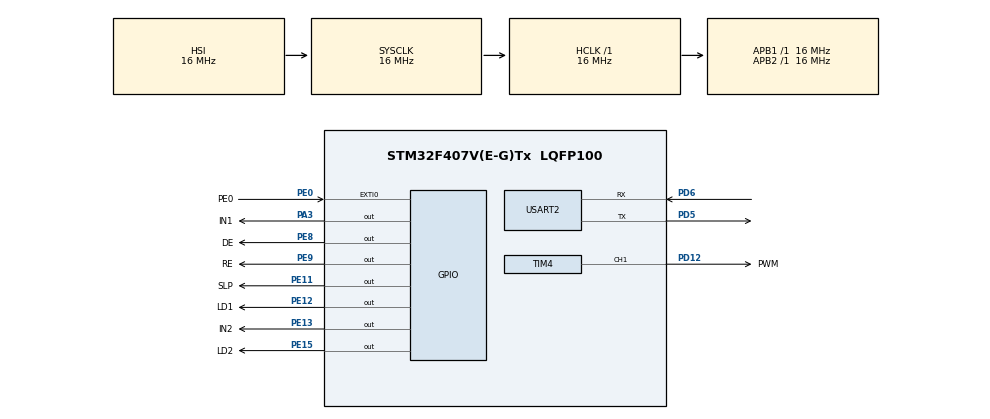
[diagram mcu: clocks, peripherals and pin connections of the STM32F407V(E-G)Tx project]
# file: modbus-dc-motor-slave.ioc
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Mcu.Family=STM32F4
Mcu.Name=STM32F407V(E-G)Tx
Mcu.Package=LQFP100
NVIC.EXTI0_IRQn=true\:4\:0\:true\:false\:true\:true
NVIC.PriorityGroup=NVIC_PRIORITYGROUP_4
NVIC.TIM3_IRQn=true\:2\:0\:true\:false\:true\:true
NVIC.USART2_IRQn=true\:1\:0\:true\:false\:true\:true
PA13.Mode=Serial_Wire
PA13.Signal=SYS_JTMS-SWDIO
PA14.Mode=Serial_Wire
PA14.Signal=SYS_JTCK-SWCLK
PA3.GPIO_Label=IN1
PA3.Signal=GPIO_Output
PC14-OSC32_IN.Mode=LSE-External-Oscillator
PC14-OSC32_IN.Signal=RCC_OSC32_IN
PC15-OSC32_OUT.Mode=LSE-External-Oscillator
PC15-OSC32_OUT.Signal=RCC_OSC32_OUT
PD12.GPIO_Label=PWM
PD12.Signal=S_TIM4_CH1
PD5.Mode=Asynchronous
PD5.Signal=USART2_TX
PD6.Mode=Asynchronous
PD6.Signal=USART2_RX
PD8.Signal=USART3_TX
PD9.Signal=USART3_RX
PE0.GPIO_Label=PE0
PE0.GPIO_PuPd=GPIO_PULLUP
PE0.Signal=GPXTI0
PE11.GPIO_Label=SLP
PE11.PinState=GPIO_PIN_SET
PE11.Signal=GPIO_Output
PE12.GPIO_Label=LD1
PE12.GPIO_PuPd=GPIO_PULLDOWN
PE12.Signal=GPIO_Output
PE13.GPIO_Label=IN2
PE13.Signal=GPIO_Output
PE15.GPIO_Label=LD2
PE15.GPIO_PuPd=GPIO_PULLUP
PE15.Signal=GPIO_Output
PE8.GPIO_Label=DE
PE8.PinState=GPIO_PIN_SET
PE8.Signal=GPIO_Output
PE9.GPIO_Label=RE
PE9.Signal=GPIO_Output
PH0-OSC_IN.Mode=HSE-External-Oscillator
PH0-OSC_IN.Signal=RCC_OSC_IN
PH1-OSC_OUT.Mode=HSE-External-Oscillator
PH1-OSC_OUT.Signal=RCC_OSC_OUT
ProjectManager.HeapSize=0x200
ProjectManager.StackSize=0x400
ProjectManager.TargetToolchain=SW4STM32
RCC.AHBFreq_Value=16000000
RCC.APB1Freq_Value=16000000
RCC.APB1TimFreq_Value=16000000
RCC.APB2Freq_Value=16000000
RCC.APB2TimFreq_Value=16000000
RCC.CortexFreq_Value=16000000
RCC.HCLKFreq_Value=16000000
RCC.HSE_VALUE=25000000
RCC.HSI_VALUE=16000000
RCC.SYSCLKFreq_VALUE=16000000
RCC.VCOOutputFreq_Value=192000000
SH.S_TIM4_CH1.0=TIM4_CH1,PWM Generation1 CH1
TIM3.Period=1000
TIM3.Prescaler=(16000000 / 1000000)-1
TIM4.Channel-PWM\ Generation1\ CH1=TIM_CHANNEL_1
TIM4.Period=200
TIM4.Prescaler=7
USART2.VirtualMode=VM_ASYNC
VP_TIM3_VS_ClockSourceINT.Mode=Internal
VP_TIM4_VS_ClockSourceINT.Mode=Internal
board=custom

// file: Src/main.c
/**
  ******************************************************************************
  * @file           : main.c
  * @brief          : Main program body
  ******************************************************************************
  ** This notice applies to any and all portions of this file
  * that are not between comment pairs USER CODE BEGIN and
  * USER CODE END. Other portions of this file, whether
  * inserted by the user or by software development tools
  * are owned by their respective copyright owners.
  *
  * COPYRIGHT(c) 2019 STMicroelectronics
  *
  * Redistribution and use in source and binary forms, with or without modification,
  * are permitted provided that the following conditions are met:
  *   1. Redistributions of source code must retain the above copyright notice,
  *      this list of conditions and the following disclaimer.
  *   2. Redistributions in binary form must reproduce the above copyright notice,
  *      this list of conditions and the following disclaimer in the documentation
  *      and/or other materials provided with the distribution.
  *   3. Neither the name of STMicroelectronics nor the names of its contributors
  *      may be used to endorse or promote products derived from this software
  *      without specific prior written permission.
  *
  * THIS SOFTWARE IS PROVIDED BY THE COPYRIGHT HOLDERS AND CONTRIBUTORS "AS IS"
  * AND ANY EXPRESS OR IMPLIED WARRANTIES, INCLUDING, BUT NOT LIMITED TO, THE
  * IMPLIED WARRANTIES OF MERCHANTABILITY AND FITNESS FOR A PARTICULAR PURPOSE ARE
  * DISCLAIMED. IN NO EVENT SHALL THE COPYRIGHT HOLDER OR CONTRIBUTORS BE LIABLE
  * FOR ANY DIRECT, INDIRECT, INCIDENTAL, SPECIAL, EXEMPLARY, OR CONSEQUENTIAL
  * DAMAGES (INCLUDING, BUT NOT LIMITED TO, PROCUREMENT OF SUBSTITUTE GOODS OR
  * SERVICES; LOSS OF USE, DATA, OR PROFITS; OR BUSINESS INTERRUPTION) HOWEVER
  * CAUSED AND ON ANY THEORY OF LIABILITY, WHETHER IN CONTRACT, STRICT LIABILITY,
  * OR TORT (INCLUDING NEGLIGENCE OR OTHERWISE) ARISING IN ANY WAY OUT OF THE USE
  * OF THIS SOFTWARE, EVEN IF ADVISED OF THE POSSIBILITY OF SUCH DAMAGE.
  *
  ******************************************************************************
  */
#include "main.h"
#include "stm32f4xx_hal.h"

TIM_HandleTypeDef htim3;
TIM_HandleTypeDef htim4;

UART_HandleTypeDef huart2;

/* USER CODE BEGIN PV */
/* Private variables ---------------------------------------------------------*/
#define SLAVE_ADDRESS 1

static uint16_t motor_speed_current = 0;
static bool motor_direction_current = true;
static bool	motor_stop_start_current = false;
static bool motor_short_brake_current = false;
static bool motor_stand_by_current = false;
/* USER CODE END PV */

void SystemClock_Config(void);
static void MX_GPIO_Init(void);
static void MX_TIM3_Init(void);
static void MX_USART2_UART_Init(void);
static void MX_TIM4_Init(void);

void HAL_TIM_MspPostInit(TIM_HandleTypeDef *htim);

/* USER CODE BEGIN PFP */
/* Private function prototypes -----------------------------------------------*/
static void motor_control_init(void);
static void motor_process(void);

/* USER CODE END PFP */

/* USER CODE BEGIN 0 */
void HAL_TIM_PeriodElapsedCallback(TIM_HandleTypeDef *htim)
{
	if(htim->Instance==TIM3)
	{
	  modbus_dependencies_timer_callback();
	}
}
/* USER CODE END 0 */

int main(void)
{

  /* MCU Configuration----------------------------------------------------------*/

  /* Reset of all peripherals, Initializes the Flash interface and the Systick. */
  HAL_Init();

  /* Configure the system clock */
  SystemClock_Config();

  /* Initialize all configured peripherals */
  MX_GPIO_Init();
  MX_TIM3_Init();
  MX_USART2_UART_Init();
  MX_TIM4_Init();
  /* USER CODE BEGIN 2 */

  //init all HW interfaces
  rs485_interface_init();

  //Init Modbus, set slave address
  modbus_init(SLAVE_ADDRESS);

  //Init your own registers
  modbus_register_mapping_init();

  modbus_variable_set_value(&modbus_variables_map.speed[0], motor_speed_current);
  modbus_variable_set_value(&modbus_variables_map.direction, motor_direction_current);
  modbus_variable_set_value(&modbus_variables_map.stop_start, motor_stop_start_current);
  modbus_variable_set_value(&modbus_variables_map.short_brake, motor_short_brake_current);
  modbus_variable_set_value(&modbus_variables_map.stand_by, motor_stand_by_current);

  dc_motor3_init();
  motor_control_init();

  /* USER CODE END 2 */

  /* Infinite loop */
  /* USER CODE BEGIN WHILE */
  while (1)
  {
	  modbus_process();

	  motor_process();
  /* USER CODE END WHILE */

  }

}

void SystemClock_Config(void)
{

  RCC_OscInitTypeDef RCC_OscInitStruct;
  RCC_ClkInitTypeDef RCC_ClkInitStruct;

    /**Configure the main internal regulator output voltage
    */
  __HAL_RCC_PWR_CLK_ENABLE();

  __HAL_PWR_VOLTAGESCALING_CONFIG(PWR_REGULATOR_VOLTAGE_SCALE1);

    /**Initializes the CPU, AHB and APB busses clocks
    */
  RCC_OscInitStruct.OscillatorType = RCC_OSCILLATORTYPE_HSI;
  RCC_OscInitStruct.HSIState = RCC_HSI_ON;
  RCC_OscInitStruct.HSICalibrationValue = 16;
  RCC_OscInitStruct.PLL.PLLState = RCC_PLL_NONE;
  if (HAL_RCC_OscConfig(&RCC_OscInitStruct) != HAL_OK)
  {
    _Error_Handler(__FILE__, __LINE__);
  }

    /**Initializes the CPU, AHB and APB busses clocks
    */
  RCC_ClkInitStruct.ClockType = RCC_CLOCKTYPE_HCLK|RCC_CLOCKTYPE_SYSCLK
                              |RCC_CLOCKTYPE_PCLK1|RCC_CLOCKTYPE_PCLK2;
  RCC_ClkInitStruct.SYSCLKSource = RCC_SYSCLKSOURCE_HSI;
  RCC_ClkInitStruct.AHBCLKDivider = RCC_SYSCLK_DIV1;
  RCC_ClkInitStruct.APB1CLKDivider = RCC_HCLK_DIV1;
  RCC_ClkInitStruct.APB2CLKDivider = RCC_HCLK_DIV1;

  if (HAL_RCC_ClockConfig(&RCC_ClkInitStruct, FLASH_LATENCY_0) != HAL_OK)
  {
    _Error_Handler(__FILE__, __LINE__);
  }

    /**Configure the Systick interrupt time
    */
  HAL_SYSTICK_Config(HAL_RCC_GetHCLKFreq()/1000);

    /**Configure the Systick
    */
  HAL_SYSTICK_CLKSourceConfig(SYSTICK_CLKSOURCE_HCLK);

  /* SysTick_IRQn interrupt configuration */
  HAL_NVIC_SetPriority(SysTick_IRQn, 0, 0);
}

/* TIM3 init function */
static void MX_TIM3_Init(void)
{

  TIM_ClockConfigTypeDef sClockSourceConfig;
  TIM_MasterConfigTypeDef sMasterConfig;

  htim3.Instance = TIM3;
  htim3.Init.Prescaler = (16000000 / 1000000)-1;
  htim3.Init.CounterMode = TIM_COUNTERMODE_UP;
  htim3.Init.Period = 1000;
  htim3.Init.ClockDivision = TIM_CLOCKDIVISION_DIV1;
  if (HAL_TIM_Base_Init(&htim3) != HAL_OK)
  {
    _Error_Handler(__FILE__, __LINE__);
  }

  sClockSourceConfig.ClockSource = TIM_CLOCKSOURCE_INTERNAL;
  if (HAL_TIM_ConfigClockSource(&htim3, &sClockSourceConfig) != HAL_OK)
  {
    _Error_Handler(__FILE__, __LINE__);
  }

  sMasterConfig.MasterOutputTrigger = TIM_TRGO_RESET;
  sMasterConfig.MasterSlaveMode = TIM_MASTERSLAVEMODE_DISABLE;
  if (HAL_TIMEx_MasterConfigSynchronization(&htim3, &sMasterConfig) != HAL_OK)
  {
    _Error_Handler(__FILE__, __LINE__);
  }

}

/* TIM4 init function */
static void MX_TIM4_Init(void)
{

  TIM_ClockConfigTypeDef sClockSourceConfig;
  TIM_MasterConfigTypeDef sMasterConfig;
  TIM_OC_InitTypeDef sConfigOC;

  htim4.Instance = TIM4;
  htim4.Init.Prescaler = 7;
  htim4.Init.CounterMode = TIM_COUNTERMODE_UP;
  htim4.Init.Period = 200;
  htim4.Init.ClockDivision = TIM_CLOCKDIVISION_DIV1;
  if (HAL_TIM_Base_Init(&htim4) != HAL_OK)
  {
    _Error_Handler(__FILE__, __LINE__);
  }

  sClockSourceConfig.ClockSource = TIM_CLOCKSOURCE_INTERNAL;
  if (HAL_TIM_ConfigClockSource(&htim4, &sClockSourceConfig) != HAL_OK)
  {
    _Error_Handler(__FILE__, __LINE__);
  }

  if (HAL_TIM_PWM_Init(&htim4) != HAL_OK)
  {
    _Error_Handler(__FILE__, __LINE__);
  }

  sMasterConfig.MasterOutputTrigger = TIM_TRGO_RESET;
  sMasterConfig.MasterSlaveMode = TIM_MASTERSLAVEMODE_DISABLE;
  if (HAL_TIMEx_MasterConfigSynchronization(&htim4, &sMasterConfig) != HAL_OK)
  {
    _Error_Handler(__FILE__, __LINE__);
  }

  sConfigOC.OCMode = TIM_OCMODE_PWM1;
  sConfigOC.Pulse = 0;
  sConfigOC.OCPolarity = TIM_OCPOLARITY_HIGH;
  sConfigOC.OCFastMode = TIM_OCFAST_DISABLE;
  if (HAL_TIM_PWM_ConfigChannel(&htim4, &sConfigOC, TIM_CHANNEL_1) != HAL_OK)
  {
    _Error_Handler(__FILE__, __LINE__);
  }

  HAL_TIM_MspPostInit(&htim4);

}

/* USART2 init function */
static void MX_USART2_UART_Init(void)
{

  huart2.Instance = USART2;
  huart2.Init.BaudRate = 115200;
  huart2.Init.WordLength = UART_WORDLENGTH_8B;
  huart2.Init.StopBits = UART_STOPBITS_1;
  huart2.Init.Parity = UART_PARITY_NONE;
  huart2.Init.Mode = UART_MODE_TX_RX;
  huart2.Init.HwFlowCtl = UART_HWCONTROL_NONE;
  huart2.Init.OverSampling = UART_OVERSAMPLING_16;
  if (HAL_UART_Init(&huart2) != HAL_OK)
  {
    _Error_Handler(__FILE__, __LINE__);
  }

}

/** Configure pins as
        * Analog
        * Input
        * Output
        * EVENT_OUT
        * EXTI
        * Free pins are configured automatically as Analog (this feature is enabled through
        * the Code Generation settings)
     PD8   ------> USART3_TX
     PD9   ------> USART3_RX
*/
static void MX_GPIO_Init(void)
{

  GPIO_InitTypeDef GPIO_InitStruct;

  /* GPIO Ports Clock Enable */
  __HAL_RCC_GPIOE_CLK_ENABLE();
  __HAL_RCC_GPIOC_CLK_ENABLE();
  __HAL_RCC_GPIOH_CLK_ENABLE();
  __HAL_RCC_GPIOA_CLK_ENABLE();
  __HAL_RCC_GPIOB_CLK_ENABLE();
  __HAL_RCC_GPIOD_CLK_ENABLE();

  /*Configure GPIO pin Output Level */
  HAL_GPIO_WritePin(IN1_GPIO_Port, IN1_Pin, GPIO_PIN_RESET);

  /*Configure GPIO pin Output Level */
  HAL_GPIO_WritePin(GPIOE, DE_Pin|SLP_Pin, GPIO_PIN_SET);

  /*Configure GPIO pin Output Level */
  HAL_GPIO_WritePin(GPIOE, RE_Pin|LD1_Pin|IN2_Pin|LD2_Pin, GPIO_PIN_RESET);

  /*Configure GPIO pins : PE2 PE3 PE4 PE5
                           PE6 PE7 PE10 PE14
                           PE1 */
  GPIO_InitStruct.Pin = GPIO_PIN_2|GPIO_PIN_3|GPIO_PIN_4|GPIO_PIN_5
                          |GPIO_PIN_6|GPIO_PIN_7|GPIO_PIN_10|GPIO_PIN_14
                          |GPIO_PIN_1;
  GPIO_InitStruct.Mode = GPIO_MODE_ANALOG;
  GPIO_InitStruct.Pull = GPIO_NOPULL;
  HAL_GPIO_Init(GPIOE, &GPIO_InitStruct);

  /*Configure GPIO pins : PC13 PC0 PC1 PC2
                           PC3 PC4 PC5 PC6
                           PC7 PC8 PC9 PC10
                           PC11 PC12 */
  GPIO_InitStruct.Pin = GPIO_PIN_13|GPIO_PIN_0|GPIO_PIN_1|GPIO_PIN_2
                          |GPIO_PIN_3|GPIO_PIN_4|GPIO_PIN_5|GPIO_PIN_6
                          |GPIO_PIN_7|GPIO_PIN_8|GPIO_PIN_9|GPIO_PIN_10
                          |GPIO_PIN_11|GPIO_PIN_12;
  GPIO_InitStruct.Mode = GPIO_MODE_ANALOG;
  GPIO_InitStruct.Pull = GPIO_NOPULL;
  HAL_GPIO_Init(GPIOC, &GPIO_InitStruct);

  /*Configure GPIO pins : PA0 PA1 PA2 PA4
                           PA5 PA6 PA7 PA8
                           PA9 PA10 PA11 PA12
                           PA15 */
  GPIO_InitStruct.Pin = GPIO_PIN_0|GPIO_PIN_1|GPIO_PIN_2|GPIO_PIN_4
                          |GPIO_PIN_5|GPIO_PIN_6|GPIO_PIN_7|GPIO_PIN_8
                          |GPIO_PIN_9|GPIO_PIN_10|GPIO_PIN_11|GPIO_PIN_12
                          |GPIO_PIN_15;
  GPIO_InitStruct.Mode = GPIO_MODE_ANALOG;
  GPIO_InitStruct.Pull = GPIO_NOPULL;
  HAL_GPIO_Init(GPIOA, &GPIO_InitStruct);

  /*Configure GPIO pin : IN1_Pin */
  GPIO_InitStruct.Pin = IN1_Pin;
  GPIO_InitStruct.Mode = GPIO_MODE_OUTPUT_PP;
  GPIO_InitStruct.Pull = GPIO_NOPULL;
  GPIO_InitStruct.Speed = GPIO_SPEED_FREQ_LOW;
  HAL_GPIO_Init(IN1_GPIO_Port, &GPIO_InitStruct);

  /*Configure GPIO pins : PB0 PB1 PB2 PB10
                           PB11 PB12 PB13 PB14
                           PB15 PB3 PB4 PB5
                           PB6 PB7 PB8 PB9 */
  GPIO_InitStruct.Pin = GPIO_PIN_0|GPIO_PIN_1|GPIO_PIN_2|GPIO_PIN_10
                          |GPIO_PIN_11|GPIO_PIN_12|GPIO_PIN_13|GPIO_PIN_14
                          |GPIO_PIN_15|GPIO_PIN_3|GPIO_PIN_4|GPIO_PIN_5
                          |GPIO_PIN_6|GPIO_PIN_7|GPIO_PIN_8|GPIO_PIN_9;
  GPIO_InitStruct.Mode = GPIO_MODE_ANALOG;
  GPIO_InitStruct.Pull = GPIO_NOPULL;
  HAL_GPIO_Init(GPIOB, &GPIO_InitStruct);

  /*Configure GPIO pins : DE_Pin RE_Pin SLP_Pin IN2_Pin */
  GPIO_InitStruct.Pin = DE_Pin|RE_Pin|SLP_Pin|IN2_Pin;
  GPIO_InitStruct.Mode = GPIO_MODE_OUTPUT_PP;
  GPIO_InitStruct.Pull = GPIO_NOPULL;
  GPIO_InitStruct.Speed = GPIO_SPEED_FREQ_LOW;
  HAL_GPIO_Init(GPIOE, &GPIO_InitStruct);

  /*Configure GPIO pin : LD1_Pin */
  GPIO_InitStruct.Pin = LD1_Pin;
  GPIO_InitStruct.Mode = GPIO_MODE_OUTPUT_PP;
  GPIO_InitStruct.Pull = GPIO_PULLDOWN;
  GPIO_InitStruct.Speed = GPIO_SPEED_FREQ_LOW;
  HAL_GPIO_Init(LD1_GPIO_Port, &GPIO_InitStruct);

  /*Configure GPIO pin : LD2_Pin */
  GPIO_InitStruct.Pin = LD2_Pin;
  GPIO_InitStruct.Mode = GPIO_MODE_OUTPUT_PP;
  GPIO_InitStruct.Pull = GPIO_PULLUP;
  GPIO_InitStruct.Speed = GPIO_SPEED_FREQ_LOW;
  HAL_GPIO_Init(LD2_GPIO_Port, &GPIO_InitStruct);

  /*Configure GPIO pins : PD8 PD9 */
  GPIO_InitStruct.Pin = GPIO_PIN_8|GPIO_PIN_9;
  GPIO_InitStruct.Mode = GPIO_MODE_AF_PP;
  GPIO_InitStruct.Pull = GPIO_NOPULL;
  GPIO_InitStruct.Speed = GPIO_SPEED_FREQ_VERY_HIGH;
  GPIO_InitStruct.Alternate = GPIO_AF7_USART3;
  HAL_GPIO_Init(GPIOD, &GPIO_InitStruct);

  /*Configure GPIO pins : PD10 PD11 PD13 PD14
                           PD15 PD0 PD1 PD2
                           PD3 PD4 PD7 */
  GPIO_InitStruct.Pin = GPIO_PIN_10|GPIO_PIN_11|GPIO_PIN_13|GPIO_PIN_14
                          |GPIO_PIN_15|GPIO_PIN_0|GPIO_PIN_1|GPIO_PIN_2
                          |GPIO_PIN_3|GPIO_PIN_4|GPIO_PIN_7;
  GPIO_InitStruct.Mode = GPIO_MODE_ANALOG;
  GPIO_InitStruct.Pull = GPIO_NOPULL;
  HAL_GPIO_Init(GPIOD, &GPIO_InitStruct);

  /*Configure GPIO pin : PE0_Pin */
  GPIO_InitStruct.Pin = PE0_Pin;
  GPIO_InitStruct.Mode = GPIO_MODE_IT_RISING;
  GPIO_InitStruct.Pull = GPIO_PULLUP;
  HAL_GPIO_Init(PE0_GPIO_Port, &GPIO_InitStruct);

  /* EXTI interrupt init*/
  HAL_NVIC_SetPriority(EXTI0_IRQn, 4, 0);
  HAL_NVIC_EnableIRQ(EXTI0_IRQn);

}

/* USER CODE BEGIN 4 */

static void motor_control_init(void)
{
	motor_speed_current = 0;
	motor_direction_current = true;
	motor_stop_start_current = false;
	motor_short_brake_current = false;
	motor_stand_by_current = false;

	dc_motor3_stop();
}

static void motor_process(void)
{
	if( motor_speed_current != HoldingRegister[SPEED] )
	{
		motor_speed_current = HoldingRegister[SPEED];
		dc_motor3_set_speed(motor_speed_current);
	}
	if( motor_direction_current != Coils[DIRECTION] )
	{
		motor_direction_current = Coils[DIRECTION];

		motor_direction_current == true ? dc_motor3_clockwise() : dc_motor3_counter_clockwise();
	}
	if( motor_short_brake_current != Coils[SHORT_BRAKE] )
	{
		motor_short_brake_current = Coils[SHORT_BRAKE];

		motor_short_brake_current == true ? dc_motor3_short_brake() : NULL;
		Coils[STOP_START] = motor_stop_start_current = false;
	}
	if( motor_stand_by_current != Coils[STAND_BY] )
	{
		motor_stand_by_current = Coils[STAND_BY];

		motor_stand_by_current == true ? dc_motor3_standby() : NULL;
		Coils[STOP_START] = motor_stop_start_current = false;
	}

	if( motor_stop_start_current != Coils[STOP_START] )
	{
		motor_stop_start_current = Coils[STOP_START];

		if(motor_stop_start_current)
		{
			if(motor_direction_current)
			{
				dc_motor3_set_speed(motor_speed_current);
				dc_motor3_clockwise();
			}
			else
			{
				dc_motor3_set_speed(motor_speed_current);
				dc_motor3_counter_clockwise();
			}
		}
		else
		{
			dc_motor3_stop();
			dc_motor3_set_speed(0);
		}
	}

}
/* USER CODE END 4 */

void _Error_Handler(char *file, int line)
{
  while(1)
  {
  }
}

/************************ (C) COPYRIGHT STMicroelectronics *****END OF FILE****/
